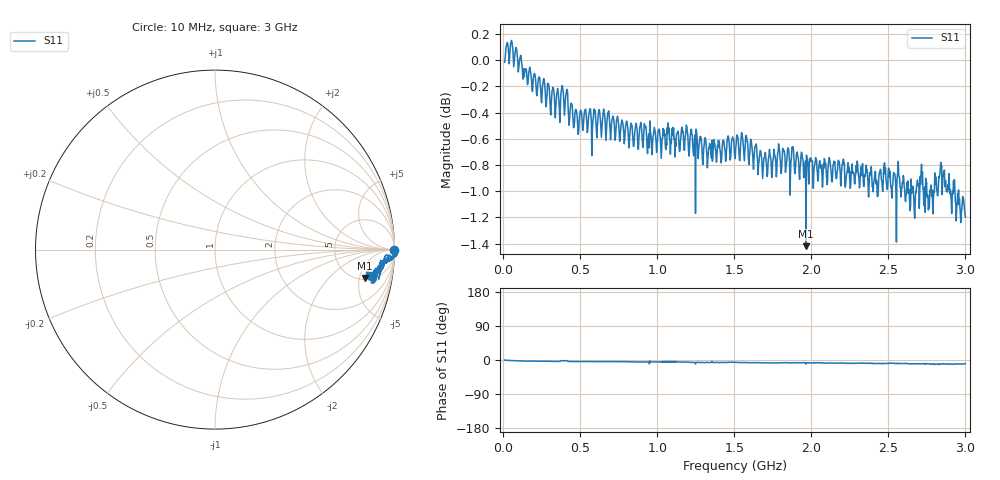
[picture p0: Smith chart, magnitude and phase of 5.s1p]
# HZ S RI R 50
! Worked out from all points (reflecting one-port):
!   1010 points, 10 MHz to 3 GHz, reference 50 ohm
!   lowest |S11| = -1.4 dB at 1.966 GHz (marker M1), VSWR 12.27, Z = 266 - j302 ohm
!   phase of S11 starts at -0 deg and turns -9 deg over the sweep
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1e7  0.9981 -0.00181
4.555996e7  1.009 -0.0237
1.522398e8  0.9888 -0.0501
3.537463e8  0.9733 -0.0642
3.863429e8  0.9756 -0.035
4.041229e8  0.9645 -0.035
4.367195e8  0.9566 -0.0681
7.597225e8  0.9306 -0.0693
9.34559e8  0.9221 -0.0764
9.671556e8  0.9167 -0.0808
1.133102e9  0.9351 -0.081
1.239782e9  0.9212 -0.1006
1.506482e9  0.9119 -0.0976
1.767255e9  0.9093 -0.1209
1.879861e9  0.917 -0.1198
1.965798e9  0.8344 -0.1579
1.983578e9  0.8884 -0.123
2.253241e9  0.8837 -0.1318
2.318434e9  0.8961 -0.1311
2.460674e9  0.8818 -0.1479
2.525867e9  0.8846 -0.1361
2.62662e9  0.8864 -0.1519
2.721447e9  0.8935 -0.1522
2.745154e9  0.8829 -0.1528
2.81331e9  0.8768 -0.166
2.84887e9  0.8747 -0.1563
2.970367e9  0.8525 -0.1577
3e9  0.8593 -0.1436
